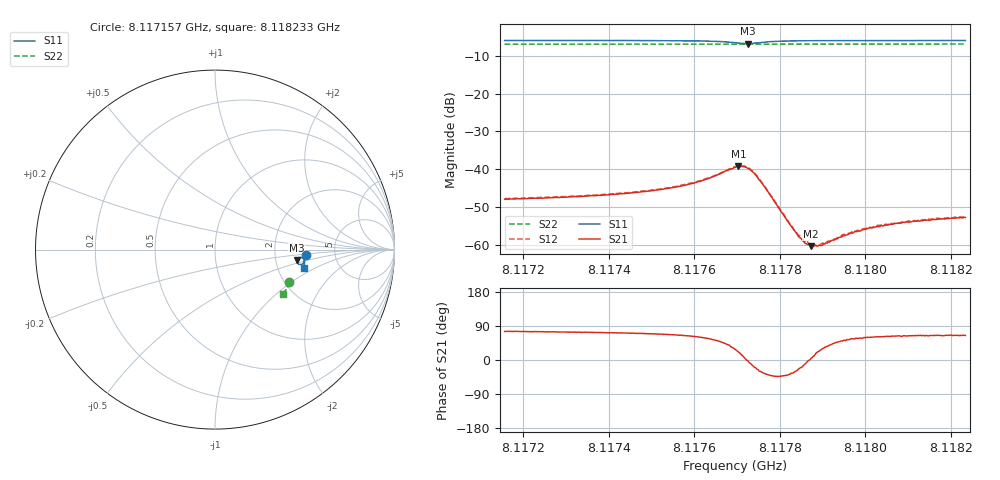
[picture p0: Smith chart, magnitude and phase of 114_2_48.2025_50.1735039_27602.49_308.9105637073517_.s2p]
#  HZ  S  RI  R  50.00
! Rohde & Schwarz Vector Network Analyzer
! Rohde-Schwarz,ZNB20-2Port,1311601062101988,3.16
! Created: UTC 3/20/2024, 11:41:07 AM
! freq[Hz]  re:S11  im:S11  re:S21  im:S21  re:S12  im:S12  re:S22  im:S22
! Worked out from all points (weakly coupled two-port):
!   401 points, 8.117157 GHz to 8.118233 GHz, reference 50 ohm
!   highest |S21| = -39.27 dB at 8.117703 GHz (marker M1); lowest = -60.4 dB at 8.117873 GHz (marker M2)
!   lowest |S11| = -6.8 dB at 8.117725 GHz (marker M3), VSWR 2.70, Z = 132 - j19.5 ohm
!   |S11| at or under -10 dB: nowhere
!   |S22| runs from -6.9 to -6.9 dB; largest |S21 - S12| = 0.00041
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8.1171569e9  0.505 -0.0293  0.00101 0.00385  0.00103 0.00393  0.4138 -0.1799
8.1173372e9  0.5034 -0.0443  0.00129 0.00419  0.00131 0.00425  0.409 -0.1917
8.1174422e9  0.5018 -0.054  0.00156 0.00453  0.00161 0.00457  0.4061 -0.1984
8.1175175e9  0.4998 -0.0617  0.00196 0.00495  0.00202 0.00503  0.404 -0.2033
8.117566e9  0.4975 -0.0675  0.00245 0.0054  0.00256 0.00549  0.4023 -0.2066
8.1176144e9  0.493 -0.0749  0.00345 0.00598  0.00359 0.00609  0.4008 -0.2095
8.1176952e9  0.4649 -0.0802  0.00922 0.00499  0.00949 0.00508  0.3972 -0.2144
8.1177032e9  0.4603 -0.0763  0.0101 0.00395  0.0102 0.00391  0.3965 -0.2147
8.1177167e9  0.4555 -0.0657  0.0108 0.00121  0.0109 0.00125  0.3963 -0.2149
8.1177248e9  0.4558 -0.0583  0.0103 -0.000291  0.0105 -0.000394  0.3959 -0.2151
8.1177409e9  0.4639 -0.0466  0.00823 -0.00288  0.00834 -0.00298  0.3961 -0.2155
8.1177597e9  0.4766 -0.043  0.00527 -0.00349  0.00537 -0.00358  0.3961 -0.2168
8.1178378e9  0.4965 -0.0588  0.00125 -0.000707  0.00127 -0.000756  0.3945 -0.2223
8.1178593e9  0.4976 -0.0625  0.00101 -0.000183  0.00108 -0.000194  0.3939 -0.2237
8.1178728e9  0.4979 -0.0646  0.000952 6.87e-05  0.000976 6.78e-05  0.3934 -0.2245
8.1178755e9  0.498 -0.0651  0.000964 0.000108  0.000988 0.000108  0.3934 -0.2248
8.1178862e9  0.4983 -0.0666  0.000906 0.000316  0.000918 0.000285  0.393 -0.2253
8.1178943e9  0.4983 -0.0677  0.000881 0.000418  0.000909 0.000409  0.3927 -0.226
8.117975e9  0.4984 -0.0772  0.000832 0.00123  0.000845 0.00124  0.3901 -0.2312
8.1180558e9  0.4976 -0.0851  0.000844 0.00163  0.000882 0.00163  0.3874 -0.236
8.1181634e9  0.4961 -0.0944  0.000907 0.00195  0.000945 0.00198  0.3837 -0.2428
8.1182334e9  0.495 -0.1001  0.000974 0.00207  0.00102 0.00209  0.3811 -0.2471
